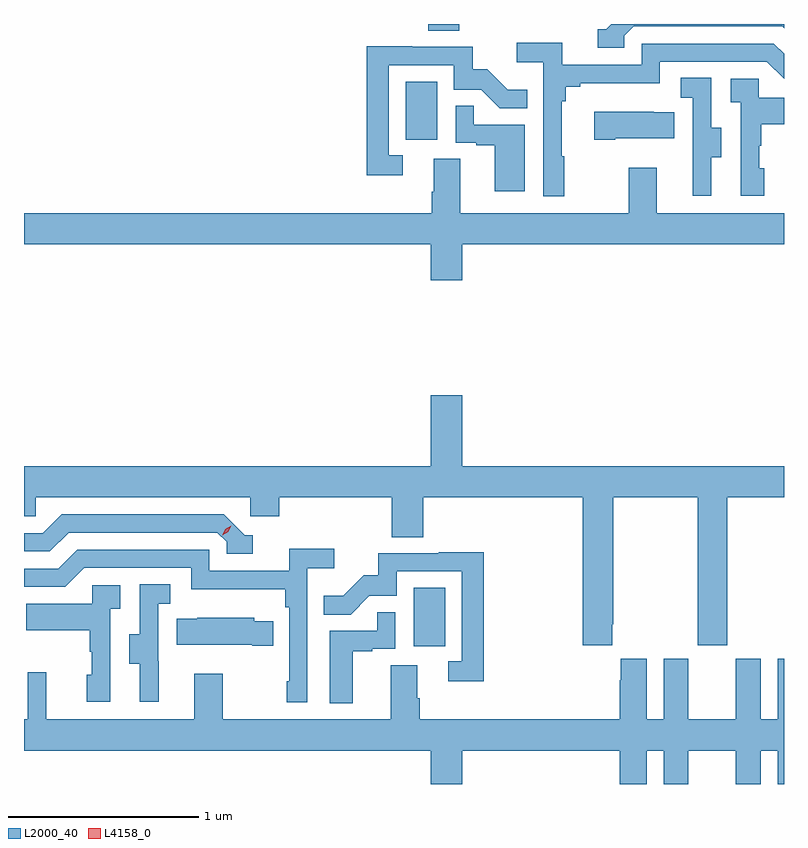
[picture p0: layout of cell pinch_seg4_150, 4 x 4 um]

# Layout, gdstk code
import gdstk
lib = gdstk.Library(unit=1e-6, precision=1e-09)
def R(c, l, rs):  # rectangles x0, y0, x1, y1
    for r in rs: c.add(gdstk.rectangle(r[:2], r[2:], *l))
def P(c, l, *ps):  # polygons
    for p in ps: c.add(gdstk.Polygon(p, *l))
L2000_40 = (2000, 40)
L4158_0 = (4158, 0)

pinch_seg4_150 = lib.new_cell('pinch_seg4_150')
R(pinch_seg4_150, L2000_40, [(1141.94,801.366,1142.104,801.673), (1141.898,804.03,1142.062,804.337), (1142.015,804.604,1142.18,804.64)])
P(pinch_seg4_150, L2000_40, [(1143.048,804.579),(1143.096,804.627),(1143.879,804.627),(1143.888,804.618),(1143.888,804.64),(1142.98,804.64),(1142.952,804.612),(1142.909,804.612),(1142.909,804.516),(1143.048,804.516)],
  [(1142.731,803.945),(1142.719,803.945),(1142.719,804.233),(1142.738,804.233),(1142.738,804.31),(1142.815,804.31),(1142.815,804.329),(1143.234,804.329),(1143.234,804.441),(1143.798,804.441),(1143.888,804.351),(1143.888,804.484),(1143.835,804.537),(1143.138,804.537),(1143.138,804.426),(1142.72,804.426),(1142.72,804.542),(1142.481,804.542),(1142.481,804.44),(1142.622,804.44),(1142.622,803.733),(1142.731,803.733)],
  [(1141.882,803.949),(1141.809,803.949),(1141.809,804.423),(1142.151,804.423),(1142.151,804.294),(1142.295,804.294),(1142.393,804.196),(1142.537,804.196),(1142.537,804.295),(1142.433,804.295),(1142.326,804.402),(1142.25,804.402),(1142.25,804.519),(1141.931,804.519),(1141.931,804.524),(1141.693,804.524),(1141.693,803.844),(1141.882,803.844)],
  [(1143.505,803.938),(1143.559,803.938),(1143.559,804.093),(1143.504,804.093),(1143.504,804.356),(1143.345,804.356),(1143.345,804.253),(1143.408,804.253),(1143.408,803.949),(1143.407,803.949),(1143.407,803.736),(1143.505,803.736)],
  [(1143.784,803.88),(1143.759,803.88),(1143.759,803.999),(1143.769,803.999),(1143.769,804.113),(1143.888,804.113),(1143.888,804.253),(1143.756,804.253),(1143.756,804.351),(1143.609,804.351),(1143.609,804.227),(1143.66,804.227),(1143.66,803.736),(1143.784,803.736)],
  [(1142.524,804.111),(1142.255,804.111),(1142.255,804.209),(1142.16,804.209),(1142.16,804.015),(1142.267,804.015),(1142.267,804.003),(1142.366,804.003),(1142.366,803.76),(1142.524,803.76)],
  [(1143.001,804.038),(1143.311,804.038),(1143.311,804.175),(1143.203,804.175),(1143.203,804.178),(1142.889,804.178),(1142.889,804.031),(1143.001,804.031)],
  [(1142.194,803.48),(1143.888,803.48),(1143.888,803.644),(1143.217,803.644),(1143.217,803.884),(1143.07,803.884),(1143.07,803.644),(1142.185,803.644),(1142.185,803.93),(1142.045,803.93),(1142.045,803.756),(1142.033,803.756),(1142.033,803.644),(1139.888,803.644),(1139.888,803.48),(1142.03,803.48),(1142.03,803.292),(1142.194,803.292)],
  [(1142.983,801.481),(1142.988,801.481),(1142.988,802.148),(1143.433,802.148),(1143.433,801.369),(1143.588,801.369),(1143.588,802.148),(1143.888,802.148),(1143.888,802.312),(1142.194,802.312),(1142.194,802.687),(1142.03,802.687),(1142.03,802.312),(1139.888,802.312),(1139.888,802.05),(1139.949,802.05),(1139.949,802.148),(1141.08,802.148),(1141.08,802.05),(1141.232,802.05),(1141.232,802.148),(1141.823,802.148),(1141.823,801.94),(1141.988,801.94),(1141.988,802.148),(1142.828,802.148),(1142.828,801.369),(1142.983,801.369)],
  [(1141.093,801.948),(1141.05,801.948),(1140.939,802.059),(1140.086,802.059),(1139.987,801.96),(1139.888,801.96),(1139.888,801.864),(1140.024,801.864),(1140.123,801.963),(1140.906,801.963),(1140.954,801.915),(1140.954,801.852),(1141.093,801.852)],
  [(1141.38,801.776),(1141.522,801.776),(1141.522,801.878),(1141.283,801.878),(1141.283,801.762),(1140.864,801.762),(1140.864,801.873),(1140.167,801.873),(1140.068,801.774),(1139.888,801.774),(1139.888,801.678),(1140.105,801.678),(1140.204,801.777),(1140.768,801.777),(1140.768,801.665),(1141.264,801.665),(1141.264,801.569),(1141.284,801.569),(1141.284,801.181),(1141.272,801.181),(1141.272,801.069),(1141.38,801.069)],
  [(1142.309,801.86),(1142.071,801.86),(1142.071,801.855),(1141.753,801.855),(1141.753,801.738),(1141.676,801.738),(1141.569,801.631),(1141.465,801.631),(1141.465,801.532),(1141.608,801.532),(1141.706,801.63),(1141.851,801.63),(1141.851,801.759),(1142.193,801.759),(1142.193,801.285),(1142.121,801.285),(1142.121,801.18),(1142.309,801.18)],
  [(1140.596,801.285),(1140.594,801.285),(1140.594,801.589),(1140.658,801.589),(1140.658,801.692),(1140.498,801.692),(1140.498,801.429),(1140.443,801.429),(1140.443,801.274),(1140.497,801.274),(1140.497,801.072),(1140.596,801.072)],
  [(1140.342,801.563),(1140.394,801.563),(1140.394,801.687),(1140.246,801.687),(1140.246,801.589),(1139.899,801.589),(1139.899,801.449),(1140.234,801.449),(1140.234,801.335),(1140.244,801.335),(1140.244,801.216),(1140.218,801.216),(1140.218,801.072),(1140.342,801.072)],
  [(1141.618,801.339),(1141.721,801.339),(1141.721,801.351),(1141.842,801.351),(1141.842,801.545),(1141.747,801.545),(1141.747,801.447),(1141.496,801.447),(1141.496,801.065),(1141.618,801.065)],
  [(1141.199,801.496),(1141.101,801.496),(1141.101,801.514),(1140.799,801.514),(1140.799,801.511),(1140.691,801.511),(1140.691,801.374),(1141.088,801.374),(1141.088,801.367),(1141.199,801.367)],
  [(1142.194,800.816),(1143.023,800.816),(1143.023,800.64),(1143.166,800.64),(1143.166,800.816),(1143.254,800.816),(1143.254,800.64),(1143.385,800.64),(1143.385,800.816),(1143.635,800.816),(1143.635,800.64),(1143.766,800.64),(1143.766,800.816),(1143.854,800.816),(1143.854,800.64),(1143.888,800.64),(1143.888,801.298),(1143.854,801.298),(1143.854,800.98),(1143.766,800.98),(1143.766,801.298),(1143.635,801.298),(1143.635,800.98),(1143.385,800.98),(1143.385,801.298),(1143.254,801.298),(1143.254,800.98),(1143.166,800.98),(1143.166,801.298),(1143.029,801.298),(1143.029,801.185),(1143.023,801.185),(1143.023,800.98),(1141.97,800.98),(1141.97,801.092),(1141.957,801.092),(1141.957,801.266),(1141.817,801.266),(1141.817,800.98),(1140.933,800.98),(1140.933,801.22),(1140.785,801.22),(1140.785,800.98),(1140.005,800.98),(1140.005,801.229),(1139.907,801.229),(1139.907,800.98),(1139.888,800.98),(1139.888,800.816),(1142.03,800.816),(1142.03,800.64),(1142.194,800.64)])
P(pinch_seg4_150, L4158_0, [(1140.931,801.948),(1140.931,801.949),(1140.947,801.981),(1140.978,802),(1140.978,802),(1140.978,802),(1140.962,801.968),(1140.931,801.948)])

lib.write_gds('pinch_seg4_150.gds')
